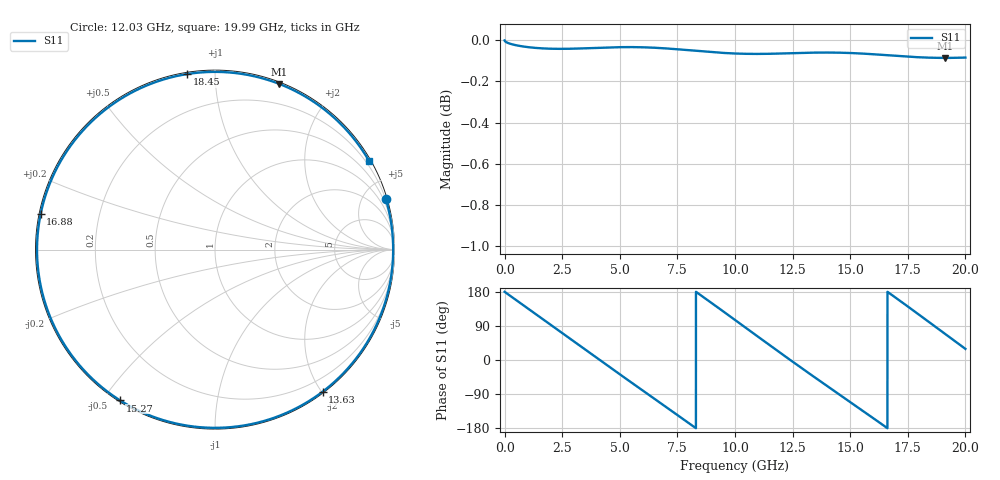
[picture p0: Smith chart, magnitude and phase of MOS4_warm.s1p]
# GHz S RI R 50
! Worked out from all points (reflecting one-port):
!   10001 points, 1 MHz to 20 GHz, reference 50 ohm
!   lowest |S11| = -0.1 dB at 19.12 GHz (marker M1), VSWR 202.21, Z = 0.774 + j73 ohm
!   phase of S11 starts at 180 deg and turns -871 deg over the sweep
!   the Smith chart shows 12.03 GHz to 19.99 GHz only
!   S11 on the Smith chart (normalised r, x): 12.03 GHz: 0.18, +6.95; 13.63 GHz: 0.02, -2.01; 15.27 GHz: 0.00, -0.55; 16.88 GHz: 0.00, +0.10; 18.45 GHz: 0.01, +0.85; 19.99 GHz: 0.07, +3.76
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0.001  -0.9999 0.000883
0.665  -0.8719 0.4831
1.395  -0.4867 0.8686
2.501  0.3229 0.9413
3.805  0.9653 0.244
4.393  0.9763 -0.1966
5.001  0.7879 -0.6095
5.645  0.413 -0.9065
6.245  -0.0224 -0.9957
6.847  -0.4538 -0.8861
7.501  -0.8172 -0.5676
8.105  -0.9828 -0.1508
8.693  -0.9512 0.2873
10.001  -0.2694 0.9553
10.939  0.4316 0.8936
12.025  0.9524 0.2796
12.501  0.9899 -0.0761
13.629  0.5991 -0.792
14.321  0.1339 -0.984
15.001  -0.3555 -0.9271
15.265  -0.5282 -0.8405
16.113  -0.9215 -0.3676
16.881  -0.9716 0.1971
17.501  -0.773 0.6199
18.445  -0.157 0.9778
19.119  0.3579 0.9232
19.993  0.8598 0.4915
20.001  0.8628 0.4862
